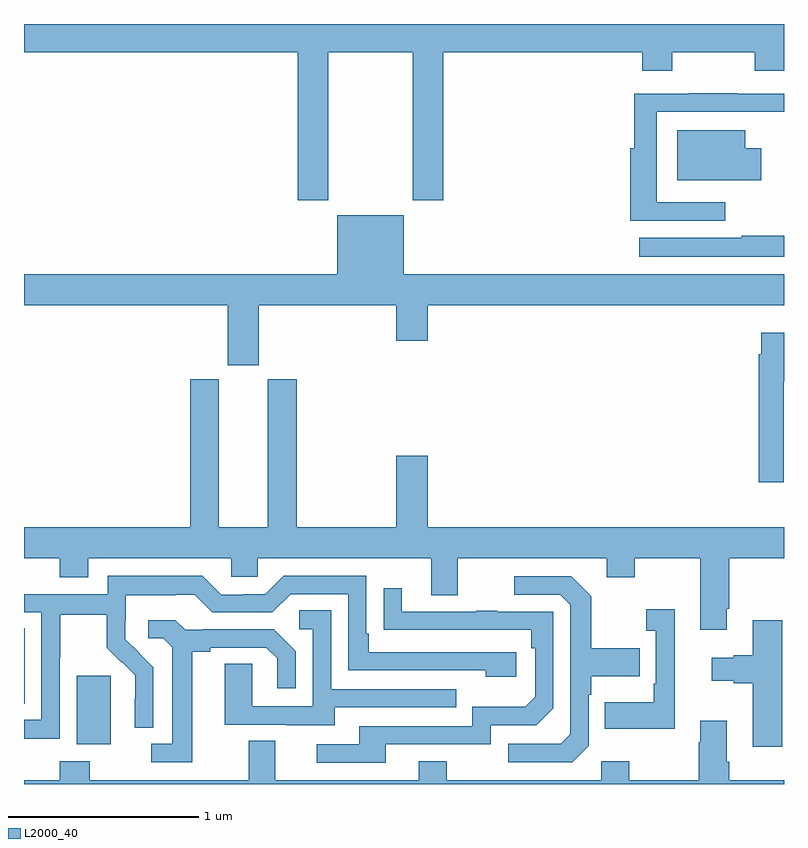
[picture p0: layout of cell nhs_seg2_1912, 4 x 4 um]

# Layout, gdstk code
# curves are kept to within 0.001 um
import gdstk
lib = gdstk.Library(unit=1e-6, precision=1e-09)
def R(c, l, rs):  # rectangles x0, y0, x1, y1
    for r in rs: c.add(gdstk.rectangle(r[:2], r[2:], *l))
def P(c, l, *ps):  # polygons
    for p in ps: c.add(gdstk.Polygon(p, *l))
L2000_40 = (2000, 40)

nhs_seg2_1912 = lib.new_cell('nhs_seg2_1912')
R(nhs_seg2_1912, L2000_40, [(211.277,628.01,211.456,628.371), (211,628.222,211.003,628.619)])
P(nhs_seg2_1912, L2000_40, [(212.601,631.652),(213.046,631.652),(213.046,630.873),(213.206,630.873),(213.206,631.652),(214.253,631.652),(214.253,631.553),(214.413,631.553),(214.413,631.652),(214.846,631.652),(214.846,631.553),(215,631.553),(215,631.8),(211,631.8),(211,631.652),(212.441,631.652),(212.441,630.873),(212.601,630.873)],
  [(214.69,630.861),(214.329,630.861),(214.329,631.338),(215,631.338),(215,631.434),(214.757,631.434),(214.757,631.436),(214.501,631.436),(214.501,631.434),(214.213,631.434),(214.213,631.147),(214.19,631.147),(214.19,630.765),(214.69,630.765)],
  [(214.879,631.147),(214.795,631.147),(214.795,631.24),(214.439,631.24),(214.439,630.977),(214.879,630.977)],
  [(212.236,630.32),(212.96,630.32),(212.96,630.132),(213.124,630.132),(213.124,630.32),(215,630.32),(215,630.484),(212.998,630.484),(212.998,630.793),(212.648,630.793),(212.648,630.484),(211,630.484),(211,630.32),(212.072,630.32),(212.072,630.003),(212.236,630.003)],
  [(215,630.686),(214.777,630.686),(214.777,630.676),(214.239,630.676),(214.239,630.575),(215,630.575)],
  [(214.999,629.919),(215,629.919),(215,630.175),(214.88,630.175),(214.88,630.062),(214.868,630.062),(214.868,629.388),(214.999,629.388)],
  [(212.091,628.89),(212.229,628.89),(212.229,628.988),(213.143,628.988),(213.143,628.794),(213.283,628.794),(213.283,628.988),(214.067,628.988),(214.067,628.889),(214.215,628.889),(214.215,628.988),(214.559,628.988),(214.559,628.611),(214.699,628.611),(214.699,628.723),(214.712,628.723),(214.712,628.988),(215,628.988),(215,629.152),(213.124,629.152),(213.124,629.527),(212.96,629.527),(212.96,629.152),(212.435,629.152),(212.435,629.931),(212.282,629.931),(212.282,629.152),(212.026,629.152),(212.026,629.931),(211.874,629.931),(211.874,629.152),(211,629.152),(211,628.988),(211.187,628.988),(211.187,628.889),(211.339,628.889),(211.339,628.988),(212.091,628.988)],
  [(211.188,628.468),(211.191,628.468),(211.191,628.692),(211.435,628.692),(211.435,628.517),(211.512,628.44),(211.515,628.443),(211.586,628.373),(211.586,628.25),(211.584,628.25),(211.584,628.096),(211.68,628.096),(211.68,628.414),(211.534,628.562),(211.534,628.659),(211.536,628.659),(211.536,628.793),(211.799,628.793),(211.799,628.797),(211.899,628.797),(211.992,628.704),(212.307,628.704),(212.403,628.8),(212.706,628.8),(212.706,628.398),(213.431,628.398),(213.431,628.364),(213.592,628.364),(213.592,628.494),(212.815,628.494),(212.815,628.591),(212.802,628.591),(212.802,628.896),(212.367,628.896),(212.271,628.8),(212.153,628.8),(212.153,628.797),(212.037,628.797),(211.937,628.897),(211.44,628.897),(211.44,628.8),(211,628.8),(211,628.704),(211.092,628.704),(211.092,628.137),(211,628.137),(211,628.039),(211.188,628.039)],
  [(213.972,628.002),(213.972,628.271),(213.985,628.271),(213.985,628.367),(214.241,628.367),(214.241,628.515),(213.985,628.515),(213.985,628.787),(213.879,628.893),(213.579,628.893),(213.579,628.797),(213.822,628.797),(213.876,628.743),(213.876,628.062),(213.825,628.011),(213.549,628.011),(213.549,627.915),(213.885,627.915)],
  [(212.905,628.008),(213.456,628.008),(213.456,628.11),(213.696,628.11),(213.786,628.2),(213.786,628.707),(213.491,628.707),(213.491,628.712),(213.379,628.712),(213.379,628.707),(212.989,628.707),(212.989,628.831),(212.893,628.831),(212.893,628.612),(213.67,628.611),(213.67,628.514),(213.69,628.514),(213.69,628.26),(213.637,628.207),(213.36,628.207),(213.36,628.104),(212.765,628.104),(212.765,628.008),(212.541,628.008),(212.541,627.912),(212.905,627.912)],
  [(214.424,628.72),(214.275,628.72),(214.275,628.607),(214.326,628.607),(214.326,628.327),(214.314,628.327),(214.314,628.231),(214.057,628.231),(214.057,628.091),(214.424,628.091)],
  [(212.635,628.203),(213.275,628.203),(213.275,628.299),(212.616,628.299),(212.616,628.715),(212.448,628.715),(212.448,628.614),(212.52,628.614),(212.52,628.209),(212.202,628.209),(212.202,628.433),(212.057,628.433),(212.057,628.113),(212.381,628.113),(212.381,628.109),(212.635,628.109)],
  [(211.885,628.496),(211.981,628.496),(211.981,628.518),(212.276,628.518),(212.333,628.461),(212.333,628.305),(212.43,628.305),(212.43,628.498),(212.314,628.614),(211.942,628.614),(211.942,628.611),(211.848,628.611),(211.796,628.663),(211.653,628.663),(211.653,628.566),(211.734,628.566),(211.781,628.519),(211.781,628.011),(211.671,628.011),(211.671,627.915),(211.885,627.915)],
  [(214.99,628.663),(214.835,628.663),(214.835,628.478),(214.736,628.478),(214.736,628.465),(214.62,628.465),(214.62,628.343),(214.736,628.343),(214.736,628.331),(214.835,628.331),(214.835,627.996),(214.99,627.996)],
  [(215,627.82),(214.712,627.82),(214.712,627.916),(214.699,627.916),(214.699,628.132),(214.559,628.132),(214.559,628.019),(214.552,628.019),(214.552,627.82),(214.185,627.82),(214.185,627.919),(214.038,627.919),(214.038,627.82),(213.225,627.82),(213.225,627.919),(213.077,627.919),(213.077,627.82),(212.323,627.82),(212.323,628.028),(212.183,628.028),(212.183,627.82),(211.347,627.82),(211.347,627.919),(211.187,627.919),(211.187,627.82),(211,627.82),(211,627.8),(215,627.8)])

lib.write_gds('nhs_seg2_1912.gds')
